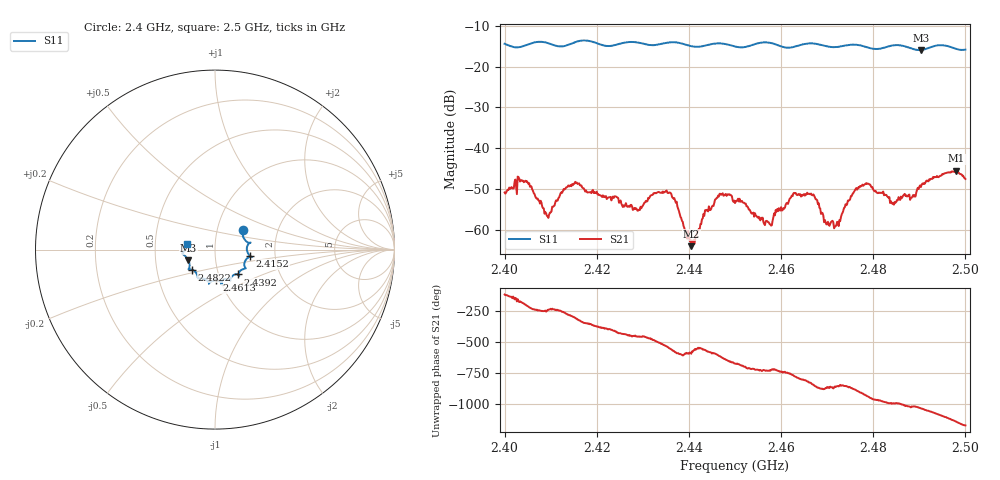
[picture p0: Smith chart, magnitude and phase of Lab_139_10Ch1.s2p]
# Hz S RI R
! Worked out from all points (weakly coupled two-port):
!   601 points, 2.4 GHz to 2.5 GHz, reference 50 ohm
!   highest |S21| = -45.50 dB at 2.498 GHz (marker M1); lowest = -64.1 dB at 2.4405 GHz (marker M2)
!   lowest |S11| = -15.9 dB at 2.4903 GHz (marker M3), VSWR 1.38, Z = 36.8 - j4.43 ohm
!   |S11| at or under -10 dB: start of sweep to end of sweep
!   S12 and S22 are empty: the file has one direction only
!   S11 on the Smith chart (normalised r, x): 2.4 GHz: 1.33, +0.31; 2.4152 GHz: 1.48, -0.11; 2.4392 GHz: 1.23, -0.35; 2.4613 GHz: 0.96, -0.34; 2.4822 GHz: 0.76, -0.17; 2.5 GHz: 0.73, +0.05
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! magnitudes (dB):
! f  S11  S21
! 2.4 GHz  -14.4  -50.9
! 2.4048 GHz  -14.6  -48.1
! 2.4095 GHz  -14.2  -57.1
! 2.4152 GHz  -14.0  -48.7
! 2.4167 GHz  -13.6  -49.1
! 2.4288 GHz  -14.1  -55.4
! 2.4333 GHz  -14.6  -50.8
! 2.4363 GHz  -14.0  -51.9
! 2.4392 GHz  -14.5  -60.5
! 2.4405 GHz  -15.0  -64.1
! 2.4463 GHz  -14.3  -51.6
! 2.45 GHz  -15.0  -53.5
! 2.4575 GHz  -14.1  -58.6
! 2.4613 GHz  -15.3  -53.4
! 2.4667 GHz  -14.3  -51.5
! 2.472 GHz  -15.2  -58.9
! 2.4767 GHz  -14.7  -49.8
! 2.4822 GHz  -15.4  -50.7
! 2.4833 GHz  -15.0  -52.1
! 2.4903 GHz  -15.9  -49.5
! 2.498 GHz  -15.6  -45.5
! 2.5 GHz  -15.8  -47.6
